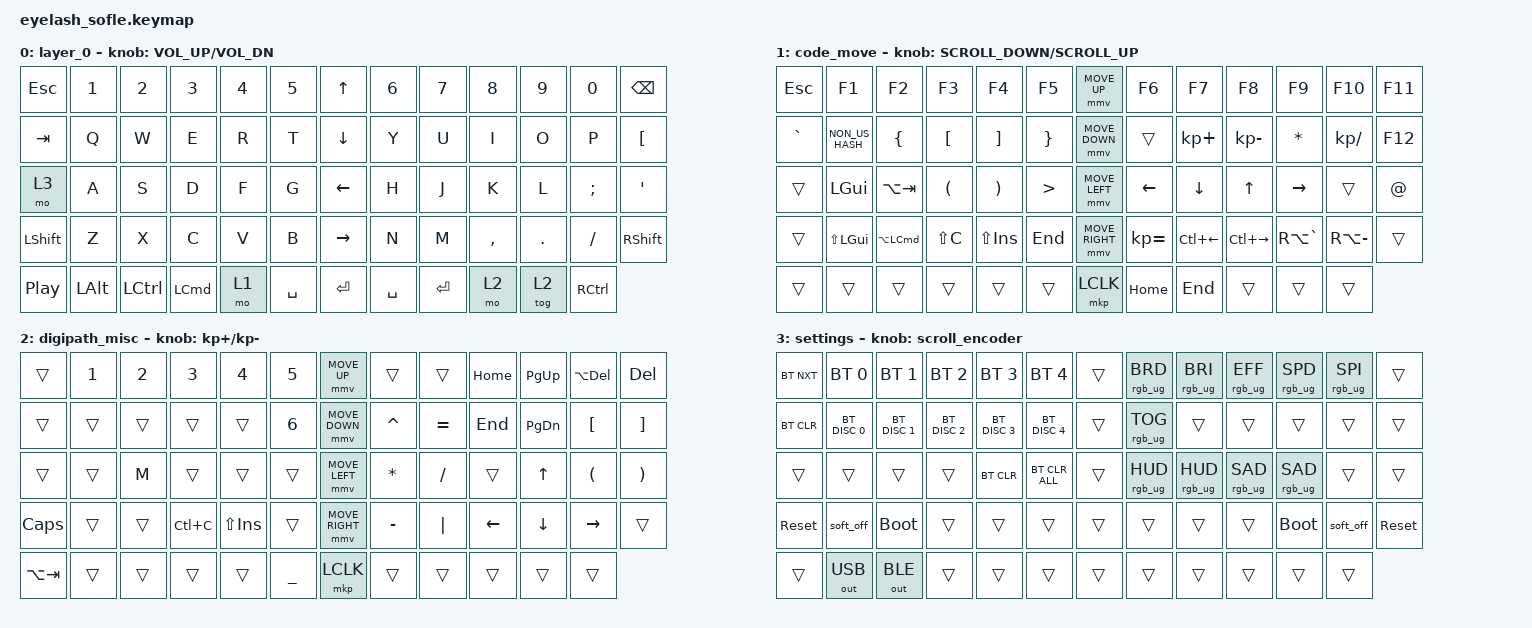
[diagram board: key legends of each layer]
#define ZMK_POINTING_DEFAULT_MOVE_VAL 1200  // 600
#define ZMK_POINTING_DEFAULT_SCRL_VAL 35    // 10

#include <input/processors.dtsi>
#include <zephyr/dt-bindings/input/input-event-codes.h>
#include <behaviors.dtsi>
#include <dt-bindings/zmk/bt.h>
#include <dt-bindings/zmk/keys.h>
#include <dt-bindings/zmk/outputs.h>
#include <dt-bindings/zmk/pointing.h>
#include <dt-bindings/zmk/rgb.h>

/ {
    zip_scroll_scaler: zip_scroll_scaler {
        compatible = "zmk,input-processor-scaler";
        #input-processor-cells = <2>;
        type = <INPUT_EV_REL>;
        codes = <INPUT_REL_WHEEL INPUT_REL_HWHEEL>;
        track-remainders;
    };
};

&mmv_input_listener { input-processors = <&zip_xy_scaler 2 1>; };

&msc_input_listener { input-processors = <&zip_scroll_scaler 2 1>; };

&msc {
    acceleration-exponent = <0>;      // 0
    time-to-max-speed-ms = <0>;       // 300
    delay-ms = <0>;                   // 0
};

&mmv {
    time-to-max-speed-ms = <400>;
    acceleration-exponent = <1>;
};

/ {
    scroll_encoder: scroll_encoder {
        compatible = "zmk,behavior-sensor-rotate";
        #sensor-binding-cells = <0>;
        bindings = <&msc SCRL_DOWN>, <&msc SCRL_UP>;

        tap-ms = <30>;
    };

    combos {
        compatible = "zmk,combos";

        moveTo_L1 {
            bindings = <&tog 1>;
            key-positions = <56 55>;
        };

        moveTo_L2 {
            bindings = <&tog 2>;
            key-positions = <55 61>;
        };

        moveTo_L3 {
            bindings = <&tog 3>;
            key-positions = <55 26>;
        };
    };

    behaviors {
    };

    macros {
        klist: klist {
            compatible = "zmk,behavior-macro";
            #binding-cells = <0>;
            bindings = <&kp MINUS &kp SPACE &kp LBKT &kp SPACE &kp RIGHT_BRACKET>;
            label = "KLIST";
        };

        tpathbold: tpathbold {
            compatible = "zmk,behavior-macro";
            #binding-cells = <0>;
            bindings = <&kp LC(NUMBER_6) &kp B>;
            label = "TPATHBOLD";
        };
    };

    keymap {
        compatible = "zmk,keymap";

        layer_0 {
            bindings = <
&kp ESC           &kp N1        &kp N2            &kp N3            &kp N4  &kp N5       &kp UP     &kp N6     &kp N7     &kp N8     &kp N9   &kp N0             &kp BSPC
&kp TAB           &kp Q         &kp W             &kp E             &kp R   &kp T        &kp DOWN   &kp Y      &kp U      &kp I      &kp O    &kp P              &kp LEFT_BRACKET
&mo 3             &kp A         &kp S             &kp D             &kp F   &kp G        &kp LEFT   &kp H      &kp J      &kp K      &kp L    &kp SEMI           &kp SQT
&kp LEFT_SHIFT    &kp Z         &kp X             &kp C             &kp V   &kp B        &kp RIGHT  &kp N      &kp M      &kp COMMA  &kp DOT  &kp FSLH           &kp RSHFT
&kp C_PLAY_PAUSE  &kp LEFT_ALT  &kp LEFT_CONTROL  &kp LEFT_COMMAND  &mo 1   &kp SPACE    &kp RET    &kp SPACE  &kp ENTER  &mo 2      &tog 2   &kp RIGHT_CONTROL
            >;

            sensor-bindings = <&inc_dec_kp C_VOLUME_UP C_VOL_DN>;
        };

        code_move {
            bindings = <
&kp ESC    &kp F1           &kp F2          &kp F3                &kp F4                 &kp F5              &mmv MOVE_UP     &kp F6          &kp F7              &kp F8               &kp F9         &kp F10        &kp F11
&kp GRAVE  &kp NON_US_HASH  &kp LEFT_BRACE  &kp LBKT              &kp RBKT               &kp RIGHT_BRACE     &mmv MOVE_DOWN   &trans          &kp KP_PLUS         &kp KP_SUBTRACT      &kp ASTRK      &kp KP_DIVIDE  &kp F12
&trans     &kp LGUI         &kp LA(TAB)     &kp LEFT_PARENTHESIS  &kp RIGHT_PARENTHESIS  &kp GREATER_THAN    &mmv MOVE_LEFT   &kp LEFT_ARROW  &kp DOWN_ARROW      &kp UP_ARROW         &kp RIGHT      &trans         &kp AT_SIGN
&trans     &kp LS(LGUI)     &kp LA(LCMD)    &kp LS(C)             &kp LS(INSERT)         &kp END             &mmv MOVE_RIGHT  &kp KP_EQUAL    &kp LC(LEFT_ARROW)  &kp LC(RIGHT_ARROW)  &kp RA(GRAVE)  &kp RA(MINUS)  &trans
&trans     &trans           &trans          &trans                &trans                 &trans              &mkp LCLK        &kp HOME        &kp END             &trans               &trans         &trans
            >;

            sensor-bindings = <&inc_dec_kp K_SCROLL_DOWN K_SCROLL_UP>;
        };

        digipath_misc {
            bindings = <
&trans        &kp NUMBER_1  &kp NUMBER_2  &kp NUMBER_3  &kp NUMBER_4    &kp N5          &mmv MOVE_UP     &trans        &trans     &kp HOME        &kp PAGE_UP     &kp LA(DEL)           &kp DEL
&trans        &trans        &trans        &trans        &trans          &kp NUMBER_6    &mmv MOVE_DOWN   &kp CARET     &kp EQUAL  &kp END         &kp PAGE_DOWN   &kp LEFT_BRACKET      &kp RIGHT_BRACKET
&trans        &trans        &kp M         &trans        &trans          &trans          &mmv MOVE_LEFT   &kp ASTERISK  &kp SLASH  &trans          &kp UP_ARROW    &kp LEFT_PARENTHESIS  &kp RIGHT_PARENTHESIS
&kp CAPSLOCK  &trans        &trans        &kp LC(C)     &kp LS(INSERT)  &trans          &mmv MOVE_RIGHT  &kp MINUS     &kp PIPE   &kp LEFT_ARROW  &kp DOWN_ARROW  &kp RIGHT             &trans
&kp LA(TAB)   &trans        &trans        &trans        &trans          &kp UNDER       &mkp LCLK        &trans        &trans     &trans          &trans          &trans
            >;

            sensor-bindings = <&inc_dec_kp KP_PLUS KP_MINUS>;
        };

        settings {
            bindings = <
&bt BT_NXT  &bt BT_SEL 0   &bt BT_SEL 1   &bt BT_SEL 2   &bt BT_SEL 3   &bt BT_SEL 4      &trans  &rgb_ug RGB_BRD  &rgb_ug RGB_BRI  &rgb_ug RGB_EFF  &rgb_ug RGB_SPD  &rgb_ug RGB_SPI  &trans
&bt BT_CLR  &bt BT_DISC 0  &bt BT_DISC 1  &bt BT_DISC 2  &bt BT_DISC 3  &bt BT_DISC 4     &trans  &rgb_ug RGB_TOG  &trans           &trans           &trans           &trans           &trans
&trans      &trans         &trans         &trans         &bt BT_CLR     &bt BT_CLR_ALL    &trans  &rgb_ug RGB_HUD  &rgb_ug RGB_HUD  &rgb_ug RGB_SAD  &rgb_ug RGB_SAD  &trans           &trans
&sys_reset  &soft_off      &bootloader    &trans         &trans         &trans            &trans  &trans           &trans           &trans           &bootloader      &soft_off        &sys_reset
&trans      &out OUT_USB   &out OUT_BLE   &trans         &trans         &trans            &trans  &trans           &trans           &trans           &trans           &trans
            >;

            sensor-bindings = <&scroll_encoder>;
        };
    };
};
